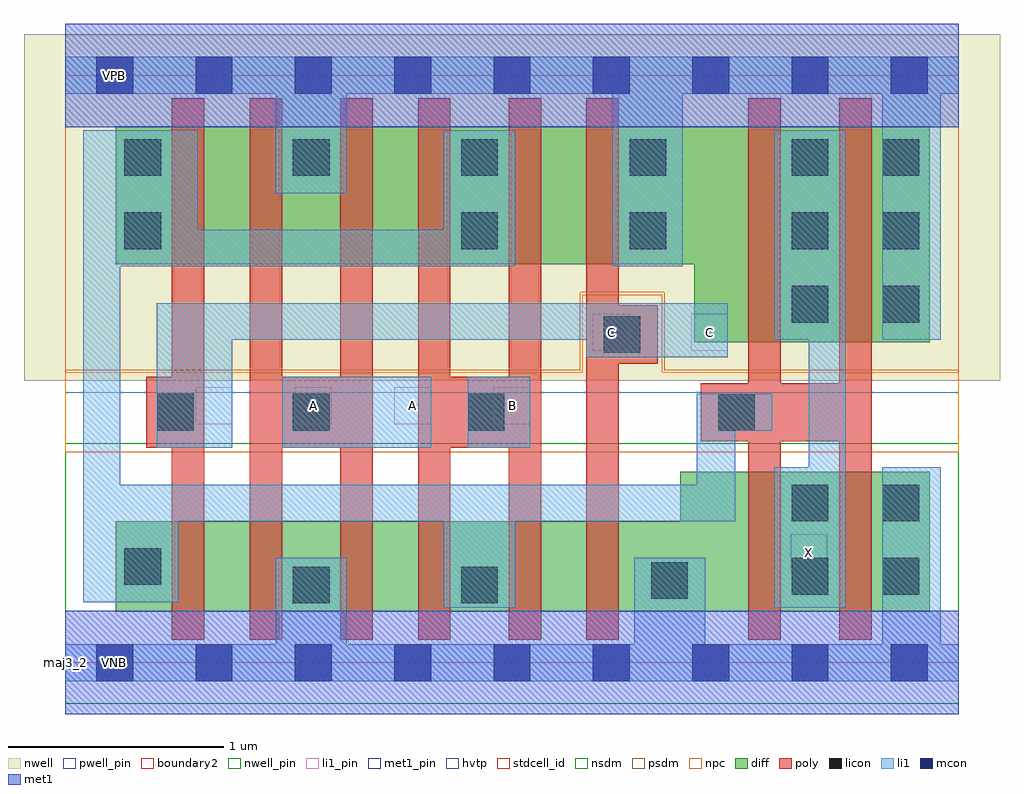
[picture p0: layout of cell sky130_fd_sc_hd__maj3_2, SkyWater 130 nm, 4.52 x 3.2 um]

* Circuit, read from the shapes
.subckt sky130_fd_sc_hd__maj3_2 A B C VGND VNB VPB VPWR X
XM1 n1 C n2 VNB sky130_fd_pr__nfet_01v8 w=0.42 l=0.15
XM2 VGND A n1 VNB sky130_fd_pr__nfet_01v8 w=0.42 l=0.15
XM3 n3 A VGND VNB sky130_fd_pr__nfet_01v8 w=0.42 l=0.15
XM4 n2 B n3 VNB sky130_fd_pr__nfet_01v8 w=0.42 l=0.15
XM5 n4 B n2 VNB sky130_fd_pr__nfet_01v8 w=0.42 l=0.15
XM6 VGND C n4 VNB sky130_fd_pr__nfet_01v8 w=0.42 l=0.15
XM7 X n2 VGND VNB sky130_fd_pr__nfet_01v8 w=0.65 l=0.15 m=2
XM8 n5 C n2 VPB sky130_fd_pr__pfet_01v8_hvt w=0.64 l=0.15
XM9 VPWR A n5 VPB sky130_fd_pr__pfet_01v8_hvt w=0.64 l=0.15
XM10 n6 A VPWR VPB sky130_fd_pr__pfet_01v8_hvt w=0.64 l=0.15
XM11 n2 B n6 VPB sky130_fd_pr__pfet_01v8_hvt w=0.64 l=0.15
XM12 n7 B n2 VPB sky130_fd_pr__pfet_01v8_hvt w=0.64 l=0.15
XM13 VPWR C n7 VPB sky130_fd_pr__pfet_01v8_hvt w=0.64 l=0.15
XM14 X n2 VPWR VPB sky130_fd_pr__pfet_01v8_hvt w=1 l=0.15 m=2
.ends

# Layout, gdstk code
import gdstk
lib = gdstk.Library(unit=1e-6, precision=1e-09)
def R(c, l, rs):  # rectangles x0, y0, x1, y1
    for r in rs: c.add(gdstk.rectangle(r[:2], r[2:], *l))
def A(c, l, x, y, w, h, nx, ny, dx, dy):  # array of equal rectangles
    R(c, l, [(x+i*dx, y+j*dy, x+i*dx+w, y+j*dy+h) for i in range(nx) for j in range(ny)])
def P(c, l, *ps):  # polygons
    for p in ps: c.add(gdstk.Polygon(p, *l))
nwell_pin = (64, 16)
nwell = (64, 20)
diff = (65, 20)
poly = (66, 20)
licon = (66, 44)
li1_pin = (67, 16)
li1 = (67, 20)
mcon = (67, 44)
met1_pin = (68, 16)
met1 = (68, 20)
hvtp = (78, 44)
stdcell_id = (81, 4)
nsdm = (93, 44)
psdm = (94, 20)
npc = (95, 20)
pwell_pin = (122, 16)
boundary2 = (236, 0)

sky130_fd_sc_hd__maj3_2 = lib.new_cell('sky130_fd_sc_hd__maj3_2')
R(sky130_fd_sc_hd__maj3_2, nwell_pin, [(0.145,2.635,0.315,2.805)])
R(sky130_fd_sc_hd__maj3_2, nwell, [(-0.19,1.305,4.33,2.91)])
P(sky130_fd_sc_hd__maj3_2, diff, [(4.005,0.885),(2.85,0.885),(2.85,0.655),(0.235,0.655),(0.235,0.235),(4.005,0.235)],
  [(4.005,2.485),(0.235,2.485),(0.235,1.845),(2.915,1.845),(2.915,1.485),(4.005,1.485)])
P(sky130_fd_sc_hd__maj3_2, poly, [(0.645,2.615),(0.495,2.615),(0.495,1.325),(0.375,1.325),(0.375,0.995),(0.495,0.995),(0.495,0.105),(0.645,0.105)],
  [(2.205,2.615),(2.055,2.615),(2.055,1.325),(1.785,1.325),(1.785,2.615),(1.635,2.615),(1.635,0.105),(1.785,0.105),(1.785,0.995),(2.055,0.995),(2.055,0.105),(2.205,0.105)],
  [(3.735,2.615),(3.585,2.615),(3.585,1.295),(3.315,1.295),(3.315,2.615),(3.165,2.615),(3.165,1.295),(2.945,1.295),(2.945,1.025),(3.165,1.025),(3.165,0.105),(3.315,0.105),(3.315,1.025),(3.585,1.025),(3.585,0.105),(3.735,0.105)],
  [(2.745,1.655),(2.565,1.655),(2.565,2.615),(2.415,2.615),(2.415,0.105),(2.565,0.105),(2.565,1.385),(2.745,1.385)],
  [(1.425,2.615),(1.275,2.615),(1.275,1.325),(1.005,1.325),(1.005,2.615),(0.855,2.615),(0.855,0.105),(1.005,0.105),(1.005,0.995),(1.275,0.995),(1.275,0.105),(1.425,0.105)])
A(sky130_fd_sc_hd__maj3_2, licon, 3.365, 1.575, 0.17, 0.17, 1, 3, 0, 0.34)
A(sky130_fd_sc_hd__maj3_2, licon, 3.785, 1.575, 0.17, 0.17, 1, 3, 0, 0.34)
A(sky130_fd_sc_hd__maj3_2, licon, 0.275, 2.255, 0.17, 0.17, 4, 1, 0.78, 0)
R(sky130_fd_sc_hd__maj3_2, licon, [(1.055,0.275,1.225,0.445), (1.835,0.275,2.005,0.445), (2.715,0.295,2.885,0.465), (3.365,0.315,3.535,0.485), (3.785,0.315,3.955,0.485), (0.275,0.36,0.445,0.53), (3.365,0.655,3.535,0.825), (3.785,0.655,3.955,0.825), (0.425,1.075,0.595,1.245), (1.055,1.075,1.225,1.245), (1.865,1.075,2.035,1.245), (3.025,1.075,3.195,1.245), (2.495,1.435,2.665,1.605), (0.275,1.915,0.445,2.085), (1.835,1.915,2.005,2.085), (2.615,1.915,2.785,2.085)])
A(sky130_fd_sc_hd__maj3_2, li1_pin, 0.605, 1.105, 0.17, 0.17, 4, 1, 0.46, 0)
R(sky130_fd_sc_hd__maj3_2, li1_pin, [(3.36,0.425,3.53,0.595), (2.445,1.445,2.615,1.615), (2.9,1.445,3.07,1.615)])
R(sky130_fd_sc_hd__maj3_2, li1, [(1.005,0.995,1.695,1.325), (1.865,0.995,2.155,1.325)])
P(sky130_fd_sc_hd__maj3_2, li1, [(4.14,0.085),(4.055,0.085),(4.055,0.905),(3.785,0.905),(3.785,0.085),(2.965,0.085),(2.965,0.485),(2.635,0.485),(2.635,0.085),(1.305,0.085),(1.305,0.485),(0.975,0.485),(0.975,0.085),(0,0.085),(0,-0.085),(4.14,-0.085)],
  [(4.14,2.805),(0,2.805),(0,2.635),(0.975,2.635),(0.975,2.175),(1.305,2.175),(1.305,2.635),(2.535,2.635),(2.535,1.835),(2.86,1.835),(2.86,2.635),(3.785,2.635),(3.785,1.495),(4.055,1.495),(4.055,2.635),(4.14,2.635)],
  [(3.615,2.465),(3.285,2.465),(3.285,1.495),(3.445,1.495),(3.445,0.905),(3.285,0.905),(3.285,0.255),(3.615,0.255)],
  [(3.275,1.245),(2.925,1.245),(2.925,0.825),(0.255,0.825),(0.255,1.835),(2.085,1.835),(2.085,2.465),(1.755,2.465),(1.755,2.005),(0.615,2.005),(0.615,2.465),(0.085,2.465),(0.085,0.28),(0.525,0.28),(0.525,0.655),(1.755,0.655),(1.755,0.255),(2.085,0.255),(2.085,0.655),(3.105,0.655),(3.105,1.075),(3.275,1.075)],
  [(3.07,1.665),(0.425,1.665),(0.425,0.995),(0.775,0.995),(0.775,1.495),(2.415,1.495),(2.415,1.415),(3.07,1.415)])
A(sky130_fd_sc_hd__maj3_2, mcon, 0.145, -0.085, 0.17, 0.17, 9, 2, 0.46, 2.72)
R(sky130_fd_sc_hd__maj3_2, met1_pin, [(0.145,-0.085,0.315,0.085), (0.145,2.635,0.315,2.805)])
R(sky130_fd_sc_hd__maj3_2, hvtp, [(0,1.25,4.14,2.72)])
R(sky130_fd_sc_hd__maj3_2, stdcell_id, [(0,0,4.14,2.72)])
R(sky130_fd_sc_hd__maj3_2, nsdm, [(0,-0.19,4.14,1.015)])
P(sky130_fd_sc_hd__maj3_2, psdm, [(4.14,2.91),(0,2.91),(0,1.355),(2.385,1.355),(2.385,1.715),(2.775,1.715),(2.775,1.355),(4.14,1.355)])
P(sky130_fd_sc_hd__maj3_2, npc, [(4.14,1.345),(2.765,1.345),(2.765,1.705),(2.395,1.705),(2.395,1.345),(0,1.345),(0,0.975),(4.14,0.975)])
R(sky130_fd_sc_hd__maj3_2, pwell_pin, [(0.145,-0.085,0.315,0.085)])
R(sky130_fd_sc_hd__maj3_2, boundary2, [(0,0,4.14,2.72)])
sky130_fd_sc_hd__maj3_2.add(gdstk.FlexPath([(0,2.72),(4.14,2.72)], 0.48, ends="flush", simple_path=True, layer=68, datatype=20))  # met1
sky130_fd_sc_hd__maj3_2.add(gdstk.FlexPath([(0,0),(4.14,0)], 0.48, ends="flush", simple_path=True, layer=68, datatype=20))  # met1
sky130_fd_sc_hd__maj3_2.add(gdstk.Label('VNB', (0.23,0), layer=64, texttype=59))
sky130_fd_sc_hd__maj3_2.add(gdstk.Label('VPB', (0.23,2.72), layer=64, texttype=5))
sky130_fd_sc_hd__maj3_2.add(gdstk.Label('VGND', (0.23,0), layer=68, texttype=5))
sky130_fd_sc_hd__maj3_2.add(gdstk.Label('VPWR', (0.23,2.72), layer=68, texttype=5))
sky130_fd_sc_hd__maj3_2.add(gdstk.Label('B', (2.07,1.19), layer=67, texttype=5))
sky130_fd_sc_hd__maj3_2.add(gdstk.Label('A', (1.15,1.19), layer=67, texttype=5))
sky130_fd_sc_hd__maj3_2.add(gdstk.Label('A', (1.61,1.19), layer=67, texttype=5))
sky130_fd_sc_hd__maj3_2.add(gdstk.Label('C', (2.53,1.53), layer=67, texttype=5))
sky130_fd_sc_hd__maj3_2.add(gdstk.Label('C', (2.985,1.53), layer=67, texttype=5))
sky130_fd_sc_hd__maj3_2.add(gdstk.Label('X', (3.445,0.51), layer=67, texttype=5))
sky130_fd_sc_hd__maj3_2.add(gdstk.Label('maj3_2', (0,0), layer=83, texttype=44))

lib.write_gds('sky130_fd_sc_hd__maj3_2.gds')
